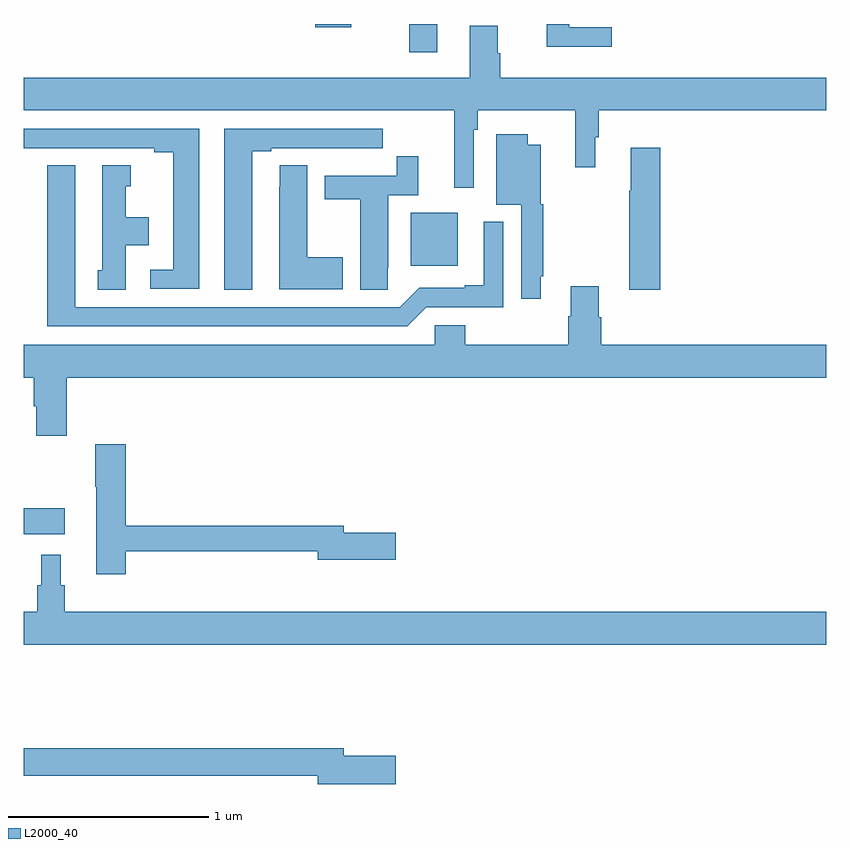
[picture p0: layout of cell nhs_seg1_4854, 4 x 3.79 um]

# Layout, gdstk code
import gdstk
lib = gdstk.Library(unit=1e-6, precision=1e-09)
def R(c, l, rs):  # rectangles x0, y0, x1, y1
    for r in rs: c.add(gdstk.rectangle(r[:2], r[2:], *l))
def P(c, l, *ps):  # polygons
    for p in ps: c.add(gdstk.Polygon(p, *l))
L2000_40 = (2000, 40)

nhs_seg1_4854 = lib.new_cell('nhs_seg1_4854')
R(nhs_seg1_4854, L2000_40, [(375,513.656,375.205,513.786), (376.928,514.994,377.164,515.257), (376.921,516.057,377.062,516.199), (376.454,516.183,376.632,516.199)])
P(nhs_seg1_4854, L2000_40, [(377.932,516.184),(377.719,516.184),(377.719,516.199),(377.607,516.199),(377.607,516.086),(377.932,516.086)],
  [(377.244,515.672),(377.264,515.672),(377.264,515.768),(377.749,515.768),(377.749,515.484),(377.848,515.484),(377.848,515.634),(377.867,515.634),(377.867,515.768),(379,515.768),(379,515.932),(377.375,515.932),(377.375,516.053),(377.362,516.053),(377.362,516.19),(377.222,516.19),(377.222,515.932),(375,515.932),(375,515.768),(377.147,515.768),(377.147,515.382),(377.244,515.382)],
  [(376.138,515.565),(376.234,515.565),(376.234,515.58),(376.51,515.58),(376.51,515.579),(376.676,515.579),(376.676,515.58),(376.789,515.58),(376.789,515.676),(375.998,515.676),(375.998,514.873),(376.138,514.873)],
  [(375.874,515.676),(375,515.676),(375,515.58),(375.65,515.58),(375.65,515.56),(375.746,515.56),(375.746,514.974),(375.63,514.974),(375.63,514.878),(375.874,514.878)],
  [(377.578,514.942),(377.59,514.942),(377.59,515.301),(377.578,515.301),(377.578,515.596),(377.512,515.596),(377.512,515.65),(377.354,515.65),(377.354,515.297),(377.481,515.297),(377.481,514.83),(377.578,514.83)],
  [(378.173,515.581),(378.026,515.581),(378.026,515.368),(378.019,515.368),(378.019,514.875),(378.173,514.875)],
  [(376.815,514.984),(376.816,514.984),(376.816,515.346),(376.967,515.346),(376.967,515.539),(376.858,515.539),(376.858,515.442),(376.499,515.442),(376.499,515.326),(376.676,515.326),(376.676,514.873),(376.815,514.873)],
  [(376.591,515.037),(376.414,515.037),(376.414,515.495),(376.275,515.495),(376.275,515.387),(376.274,515.387),(376.274,514.877),(376.591,514.877)],
  [(375.508,515.096),(375.622,515.096),(375.622,515.236),(375.508,515.236),(375.508,515.391),(375.532,515.391),(375.532,515.494),(375.392,515.494),(375.392,514.971),(375.368,514.971),(375.368,514.873),(375.508,514.873)],
  [(377.007,514.788),(377.391,514.788),(377.391,515.212),(377.294,515.212),(377.294,514.897),(377.198,514.897),(377.198,514.884),(376.971,514.884),(376.875,514.788),(375.256,514.788),(375.256,515.494),(375.116,515.494),(375.116,514.692),(376.911,514.692)],
  [(375.215,514.436),(379,514.436),(379,514.6),(377.879,514.6),(377.879,514.737),(377.866,514.737),(377.866,514.891),(377.726,514.891),(377.726,514.742),(377.714,514.742),(377.714,514.6),(377.201,514.6),(377.201,514.698),(377.049,514.698),(377.049,514.6),(375,514.6),(375,514.436),(375.05,514.436),(375.05,514.294),(375.062,514.294),(375.062,514.145),(375.215,514.145)],
  [(375.509,513.57),(376.466,513.57),(376.466,513.527),(376.855,513.527),(376.855,513.662),(376.594,513.662),(376.594,513.698),(375.509,513.698),(375.509,514.105),(375.355,514.105),(375.355,513.892),(375.362,513.892),(375.362,513.456),(375.509,513.456)],
  [(379,513.268),(375.203,513.268),(375.203,513.402),(375.184,513.402),(375.184,513.553),(375.086,513.553),(375.086,513.402),(375.067,513.402),(375.067,513.268),(375,513.268),(375,513.104),(379,513.104)],
  [(376.855,512.552),(376.594,512.552),(376.594,512.588),(375,512.588),(375,512.452),(376.466,512.452),(376.466,512.41),(376.855,512.41)])

lib.write_gds('nhs_seg1_4854.gds')
